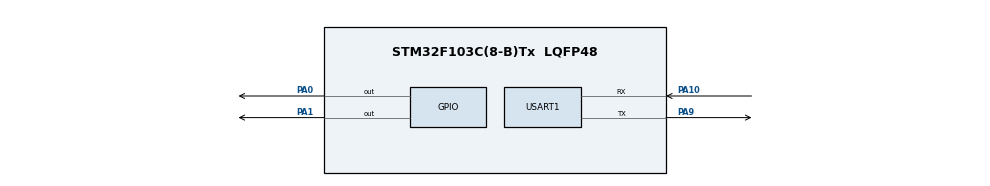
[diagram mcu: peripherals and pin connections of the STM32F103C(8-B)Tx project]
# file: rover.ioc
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Mcu.Family=STM32F1
Mcu.Name=STM32F103C(8-B)Tx
Mcu.Package=LQFP48
NVIC.PriorityGroup=NVIC_PRIORITYGROUP_4
NVIC.USART1_IRQn=true\:0\:0\:false\:false\:true\:true\:true\:true
PA0-WKUP.Signal=GPIO_Output
PA1.Signal=GPIO_Output
PA10.Mode=Asynchronous
PA10.Signal=USART1_RX
PA13.Mode=Serial_Wire
PA13.Signal=SYS_JTMS-SWDIO
PA14.Mode=Serial_Wire
PA14.Signal=SYS_JTCK-SWCLK
PA9.Mode=Asynchronous
PA9.Signal=USART1_TX
ProjectManager.HeapSize=0x200
ProjectManager.StackSize=0x400
ProjectManager.TargetToolchain=STM32CubeIDE
RCC.APB1Freq_Value=8000000
RCC.APB2Freq_Value=8000000
USART1.VirtualMode=VM_ASYNC
board=custom

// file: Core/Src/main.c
/* USER CODE BEGIN Header */
/**
  ******************************************************************************
  * @file           : main.c
  * @brief          : Main program body
  ******************************************************************************
  * @attention
  *
  * Copyright (c) 2026 STMicroelectronics.
  * All rights reserved.
  *
  * This software is licensed under terms that can be found in the LICENSE file
  * in the root directory of this software component.
  * If no LICENSE file comes with this software, it is provided AS-IS.
  *
  ******************************************************************************
  */
/* USER CODE END Header */
#include "main.h"
#include "usart.h"
#include "gpio.h"

/* USER CODE BEGIN PV */
uint8_t rxBuf[2]; // UARTtan gelecek 2 karakterlik mesaj için buffer
/* USER CODE END PV */

void SystemClock_Config(void);
/* USER CODE BEGIN PFP */
static void PinUygula(uint8_t komut, GPIO_TypeDef *port, uint16_t pin); // Pini komuta göre süren fonksiyonun bildirimi
/* USER CODE END PFP */

int main(void)
{

  /* MCU Configuration--------------------------------------------------------*/

  /* Reset of all peripherals, Initializes the Flash interface and the Systick. */
  HAL_Init();

  /* Configure the system clock */
  SystemClock_Config();

  /* Initialize all configured peripherals */
  MX_GPIO_Init();
  MX_USART1_UART_Init();
  /* USER CODE BEGIN 2 */
  HAL_UART_Receive_IT(&huart1, rxBuf, 2); // USART1'den 2 bayt gelince kesme ile haber ver
  /* USER CODE END 2 */

  /* Infinite loop */
  while (1)
  {

  }
}

void SystemClock_Config(void)
{
  RCC_OscInitTypeDef RCC_OscInitStruct = {0};
  RCC_ClkInitTypeDef RCC_ClkInitStruct = {0};

  /** Initializes the RCC Oscillators according to the specified parameters
  * in the RCC_OscInitTypeDef structure.
  */
  RCC_OscInitStruct.OscillatorType = RCC_OSCILLATORTYPE_HSI;
  RCC_OscInitStruct.HSIState = RCC_HSI_ON;
  RCC_OscInitStruct.HSICalibrationValue = RCC_HSICALIBRATION_DEFAULT;
  RCC_OscInitStruct.PLL.PLLState = RCC_PLL_NONE;
  if (HAL_RCC_OscConfig(&RCC_OscInitStruct) != HAL_OK)
  {
    Error_Handler();
  }

  /** Initializes the CPU, AHB and APB buses clocks
  */
  RCC_ClkInitStruct.ClockType = RCC_CLOCKTYPE_HCLK|RCC_CLOCKTYPE_SYSCLK
                              |RCC_CLOCKTYPE_PCLK1|RCC_CLOCKTYPE_PCLK2;
  RCC_ClkInitStruct.SYSCLKSource = RCC_SYSCLKSOURCE_HSI;
  RCC_ClkInitStruct.AHBCLKDivider = RCC_SYSCLK_DIV1;
  RCC_ClkInitStruct.APB1CLKDivider = RCC_HCLK_DIV1;
  RCC_ClkInitStruct.APB2CLKDivider = RCC_HCLK_DIV1;

  if (HAL_RCC_ClockConfig(&RCC_ClkInitStruct, FLASH_LATENCY_0) != HAL_OK)
  {
    Error_Handler();
  }
}

/* USER CODE BEGIN 4 */
static void PinUygula(uint8_t komut, GPIO_TypeDef *port, uint16_t pin) // Gelen karaktere göre verilen pini sürer
{
  switch (komut)   // Gelen karakteri kontrol et
  {
    case '0':     // '0' karakteri LOW demek
      HAL_GPIO_WritePin(port, pin, GPIO_PIN_RESET); // Pini LOW (0 V) yap
      break; // switch'ten çık
    case '1':  // '1' karakteri HIGH demek
      HAL_GPIO_WritePin(port, pin, GPIO_PIN_SET); // Pini HIGH (3.3 V) yap
      break; // switch'ten çık
    case '2': // '2' karakteri TOGGLE demek
      HAL_GPIO_TogglePin(port, pin); // Pinin mevcut durumunu tersine çevir
      break; // switch'ten çık
    default: // Geçersiz karakter gelirse
      break;  // Hiçbir şey yapma
  }             // switch bloğunu kapat
}               // PinUygula fonksiyonunu kapat

void HAL_UART_RxCpltCallback(UART_HandleTypeDef *huart) // 2 bayt alınınca HAL tarafından otomatik çağrılır
{
  if (huart->Instance == USART1)// Kesmenin USART1'den geldiğini doğrula
  {
    PinUygula(rxBuf[0], GPIOA, GPIO_PIN_0); // İlk karakter 1. pini (PA0) kontrol eder
    PinUygula(rxBuf[1], GPIOA, GPIO_PIN_1); // İkinci karakter 2. pini (PA1) kontrol eder
    HAL_UART_Receive_IT(&huart1, rxBuf, 2); // Sonraki mesaj için alımı tekrar başlat
  }
}
/* USER CODE END 4 */

void Error_Handler(void)
{
  __disable_irq();
  while (1)
  {
  }
}
